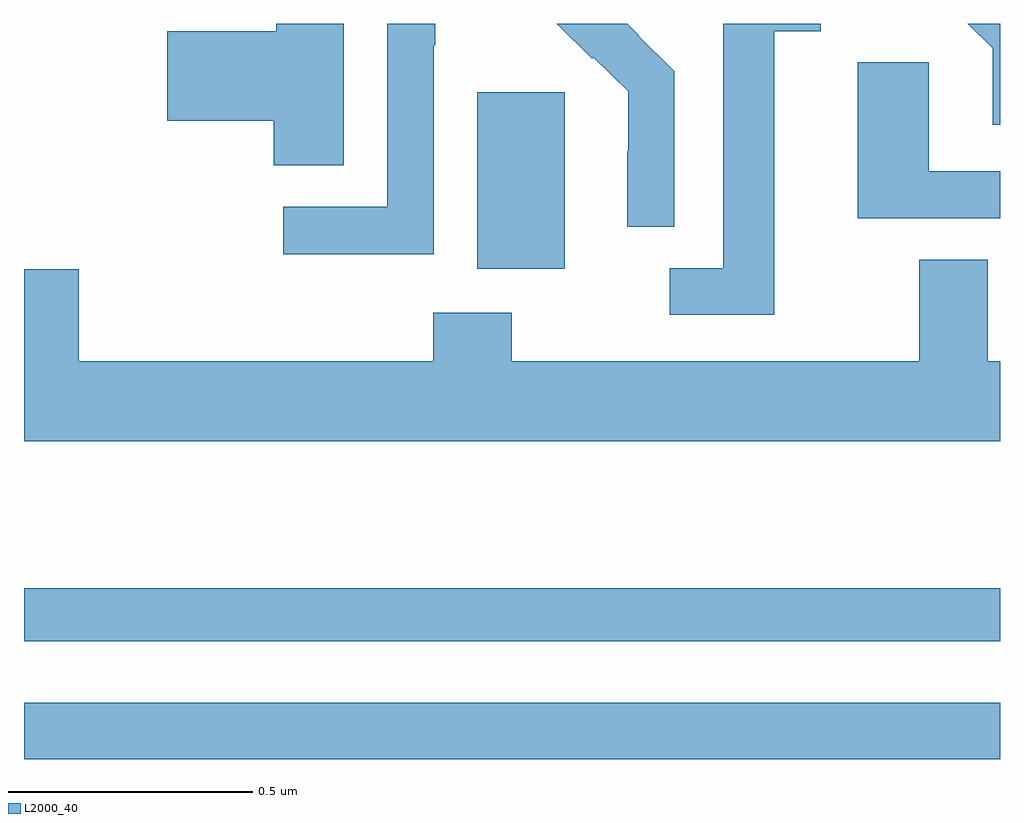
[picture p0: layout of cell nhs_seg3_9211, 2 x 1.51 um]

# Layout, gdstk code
import gdstk
lib = gdstk.Library(unit=1e-6, precision=1e-09)
def R(c, l, rs):  # rectangles x0, y0, x1, y1
    for r in rs: c.add(gdstk.rectangle(r[:2], r[2:], *l))
def P(c, l, *ps):  # polygons
    for p in ps: c.add(gdstk.Polygon(p, *l))
L2000_40 = (2000, 40)

nhs_seg3_9211 = lib.new_cell('nhs_seg3_9211')
R(nhs_seg3_9211, L2000_40, [(225,738.892,227,739.008), (225,739.134,227,739.243), (225.929,739.898,226.108,740.259)])
P(nhs_seg3_9211, L2000_40, [(225.84,740.356),(225.843,740.356),(225.843,740.4),(225.744,740.4),(225.744,740.025),(225.531,740.025),(225.531,739.927),(225.84,739.927)],
  [(226.332,740.302),(226.259,740.375),(226.26,740.376),(226.236,740.4),(226.092,740.4),(226.164,740.328),(226.167,740.331),(226.238,740.261),(226.238,740.138),(226.236,740.138),(226.236,739.984),(226.332,739.984)],
  [(226.537,740.384),(226.633,740.384),(226.633,740.4),(226.433,740.4),(226.433,739.899),(226.323,739.899),(226.323,739.803),(226.537,739.803)],
  [(227,740.4),(226.934,740.4),(226.985,740.349),(226.985,740.193),(227,740.193)],
  [(225.655,740.4),(225.517,740.4),(225.517,740.384),(225.294,740.384),(225.294,740.201),(225.512,740.201),(225.512,740.11),(225.655,740.11)],
  [(227,740.097),(226.854,740.097),(226.854,740.321),(226.709,740.321),(226.709,740.001),(227,740.001)],
  [(227,739.708),(226.975,739.708),(226.975,739.916),(226.835,739.916),(226.835,739.708),(225.999,739.708),(225.999,739.807),(225.839,739.807),(225.839,739.708),(225.112,739.708),(225.112,739.897),(225,739.897),(225,739.544),(227,739.544)])

lib.write_gds('nhs_seg3_9211.gds')
